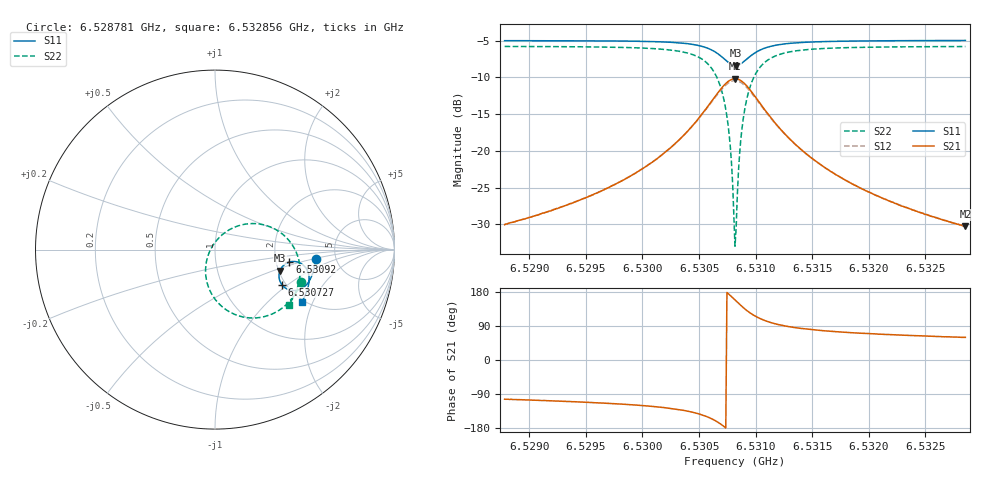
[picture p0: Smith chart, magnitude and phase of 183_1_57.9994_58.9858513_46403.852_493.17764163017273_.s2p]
#  HZ  S  RI  R  50.00
! Rohde & Schwarz Vector Network Analyzer
! Rohde-Schwarz,ZNB20-2Port,1311601062101988,3.16
! Created: UTC 3/21/2024, 12:58:24 AM
! freq[Hz]  re:S11  im:S11  re:S21  im:S21  re:S12  im:S12  re:S22  im:S22
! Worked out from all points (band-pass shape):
!   401 points, 6.528781 GHz to 6.532856 GHz, reference 50 ohm
!   highest |S21| = -10.18 dB at 6.530818 GHz (marker M1); lowest = -30.3 dB at 6.532856 GHz (marker M2)
!   |S21| within 3 dB of the highest: 6.530615 GHz to 6.531023 GHz (408.6 kHz wide, 0.00626 % of centre)
!   lowest |S11| = -8.4 dB at 6.530828 GHz (marker M3), VSWR 2.23, Z = 102 - j27.8 ohm
!   |S11| at or under -10 dB: nowhere
!   |S22| runs from -33.0 to -5.8 dB; largest |S21 - S12| = 0.013
!   S11 on the Smith chart (normalised r, x): 6.528781 GHz: 3.49, -0.52; 6.530727 GHz: 1.91, -0.90; 6.53092 GHz: 2.37, -0.40; 6.532856 GHz: 1.93, -1.66
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6.5287805e9  0.5604 -0.0507  -0.00725 -0.0305  -0.00803 -0.0305  0.4816 -0.1798
6.5294632e9  0.5511 -0.1081  -0.0168 -0.0437  -0.0179 -0.0433  0.4494 -0.2428
6.5301458e9  0.524 -0.1768  -0.0508 -0.0749  -0.0531 -0.0734  0.3662 -0.3318
6.5303802e9  0.4974 -0.2074  -0.0909 -0.0945  -0.0938 -0.0913  0.2841 -0.3709
6.5305534e9  0.4535 -0.2274  -0.1599 -0.1012  -0.1622 -0.0945  0.1569 -0.3755
6.5306553e9  0.4082 -0.2226  -0.2302 -0.0745  -0.2293 -0.0646  0.039 -0.3174
6.5307266e9  0.3726 -0.1953  -0.2819 -0.0155  -0.276 -0.00511  -0.0368 -0.2077
6.5307673e9  0.3592 -0.1673  -0.2979 0.0379  -0.2888 0.0464  -0.0527 -0.1162
6.5307775e9  0.3575 -0.159  -0.2991 0.053  -0.2892 0.0606  -0.0514 -0.0915
6.5308081e9  0.3576 -0.1333  -0.2932 0.0991  -0.2821 0.1038  -0.0328 -0.0172
6.5308183e9  0.3595 -0.125  -0.2881 0.1139  -0.2769 0.1178  -0.0215 0.00631
6.5308285e9  0.3622 -0.1168  -0.2818 0.1284  -0.2705 0.1312  -0.00835 0.0286
6.5308387e9  0.3659 -0.1089  -0.2739 0.1422  -0.2628 0.1438  0.00728 0.0492
6.5308692e9  0.3813 -0.0886  -0.2438 0.1767  -0.2337 0.176  0.063 0.1003
6.5308896e9  0.394 -0.0786  -0.2201 0.1934  -0.2111 0.1916  0.1051 0.1233
6.5309202e9  0.4145 -0.0694  -0.1828 0.2092  -0.1758 0.2063  0.1696 0.1421
6.5309915e9  0.4578 -0.0686  -0.1068 0.2115  -0.1031 0.2084  0.2973 0.1304
6.5310934e9  0.4962 -0.0901  -0.0414 0.1805  -0.0395 0.1786  0.4027 0.0617
6.5312462e9  0.5186 -0.1262  -0.00153 0.1335  -0.000296 0.1329  0.4602 -0.0347
6.5315009e9  0.5246 -0.1697  0.0154 0.0873  0.0165 0.087  0.4742 -0.133
6.5321836e9  0.5077 -0.2412  0.0178 0.0419  0.0185 0.0417  0.4448 -0.2493
6.532856e9  0.4829 -0.2926  0.0154 0.0264  0.016 0.0261  0.41 -0.309
